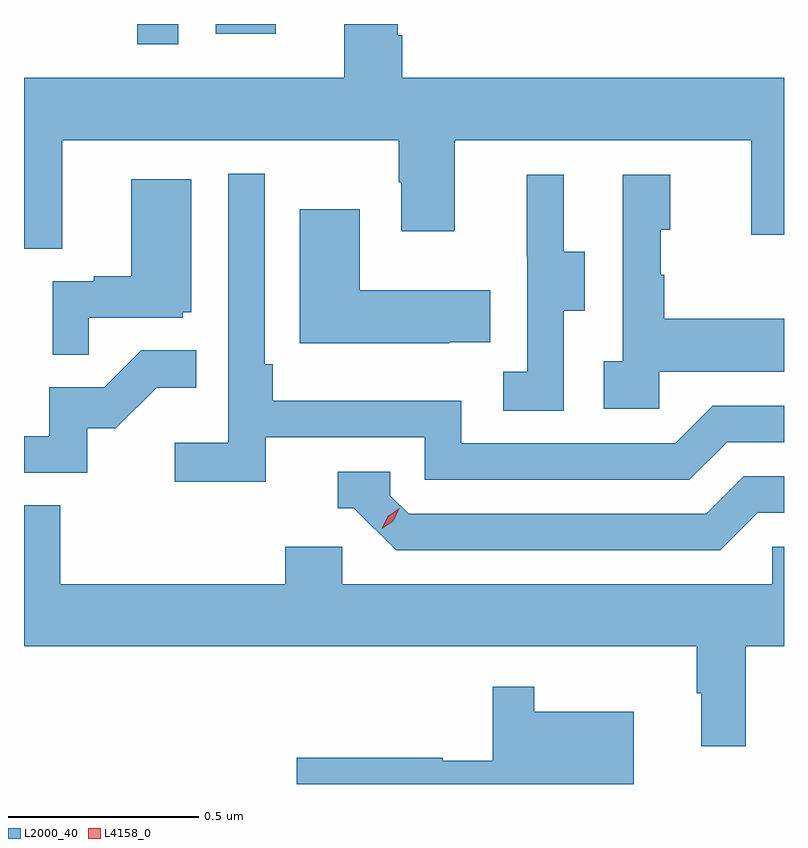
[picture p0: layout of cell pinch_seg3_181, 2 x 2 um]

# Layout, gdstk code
import gdstk
lib = gdstk.Library(unit=1e-6, precision=1e-09)
def R(c, l, rs):  # rectangles x0, y0, x1, y1
    for r in rs: c.add(gdstk.rectangle(r[:2], r[2:], *l))
def P(c, l, *ps):  # polygons
    for p in ps: c.add(gdstk.Polygon(p, *l))
L2000_40 = (2000, 40)
L4158_0 = (4158, 0)

pinch_seg3_181 = lib.new_cell('pinch_seg3_181')
R(pinch_seg3_181, L2000_40, [(997.416,745.125,997.524,745.178), (997.622,745.152,997.78,745.178)])
P(pinch_seg3_181, L2000_40, [(997.219,744.872),(998.104,744.872),(998.104,744.761),(998.111,744.761),(998.111,744.633),(998.251,744.633),(998.251,744.872),(999.032,744.872),(999.032,744.624),(999.118,744.624),(999.118,745.036),(998.114,745.036),(998.114,745.148),(998.101,745.148),(998.101,745.178),(997.961,745.178),(997.961,745.036),(997.118,745.036),(997.118,744.586),(997.219,744.586)],
  [(997.754,744.09),(998.172,744.09),(998.172,743.979),(998.869,743.979),(998.968,744.078),(999.118,744.078),(999.118,744.174),(998.931,744.174),(998.832,744.075),(998.268,744.075),(998.268,744.187),(997.772,744.187),(997.772,744.283),(997.752,744.283),(997.752,744.784),(997.656,744.784),(997.656,744.076),(997.515,744.076),(997.515,743.974),(997.754,743.974)],
  [(998.79,744.263),(999.118,744.263),(999.118,744.403),(998.803,744.403),(998.803,744.518),(998.793,744.518),(998.793,744.636),(998.818,744.636),(998.818,744.781),(998.694,744.781),(998.694,744.29),(998.643,744.29),(998.643,744.165),(998.79,744.165)],
  [(998.538,744.424),(998.593,744.424),(998.593,744.579),(998.539,744.579),(998.539,744.781),(998.441,744.781),(998.441,744.567),(998.442,744.567),(998.442,744.263),(998.379,744.263),(998.379,744.16),(998.538,744.16)],
  [(997.289,744.405),(997.536,744.405),(997.536,744.42),(997.558,744.42),(997.558,744.769),(997.4,744.769),(997.4,744.514),(997.301,744.514),(997.301,744.501),(997.194,744.501),(997.194,744.307),(997.289,744.307)],
  [(998.237,744.341),(998.345,744.341),(998.345,744.478),(998.002,744.478),(998.002,744.691),(997.844,744.691),(997.844,744.338),(998.237,744.338)],
  [(997.284,744.114),(997.36,744.114),(997.467,744.221),(997.571,744.221),(997.571,744.32),(997.427,744.32),(997.329,744.222),(997.185,744.222),(997.185,744.093),(997.118,744.093),(997.118,743.997),(997.284,743.997)],
  [(999.049,743.892),(999.118,743.892),(999.118,743.988),(999.012,743.988),(998.913,743.889),(998.13,743.889),(998.082,743.937),(998.082,744),(997.943,744),(997.943,743.904),(997.986,743.904),(998.097,743.793),(998.95,743.793)],
  [(999.017,743.54),(999.118,743.54),(999.118,743.802),(999.087,743.802),(999.087,743.704),(997.956,743.704),(997.956,743.802),(997.805,743.802),(997.805,743.704),(997.214,743.704),(997.214,743.912),(997.118,743.912),(997.118,743.54),(998.889,743.54),(998.889,743.417),(998.9,743.417),(998.9,743.277),(999.017,743.277)],
  [(998.722,743.368),(998.461,743.368),(998.461,743.434),(998.351,743.434),(998.351,743.239),(998.22,743.239),(998.22,743.247),(997.836,743.247),(997.836,743.178),(998.722,743.178)])
P(pinch_seg3_181, L4158_0, [(998.06,743.85),(998.06,743.85),(998.075,743.883),(998.105,743.904),(998.105,743.904),(998.105,743.904),(998.09,743.87),(998.06,743.85)])

lib.write_gds('pinch_seg3_181.gds')
